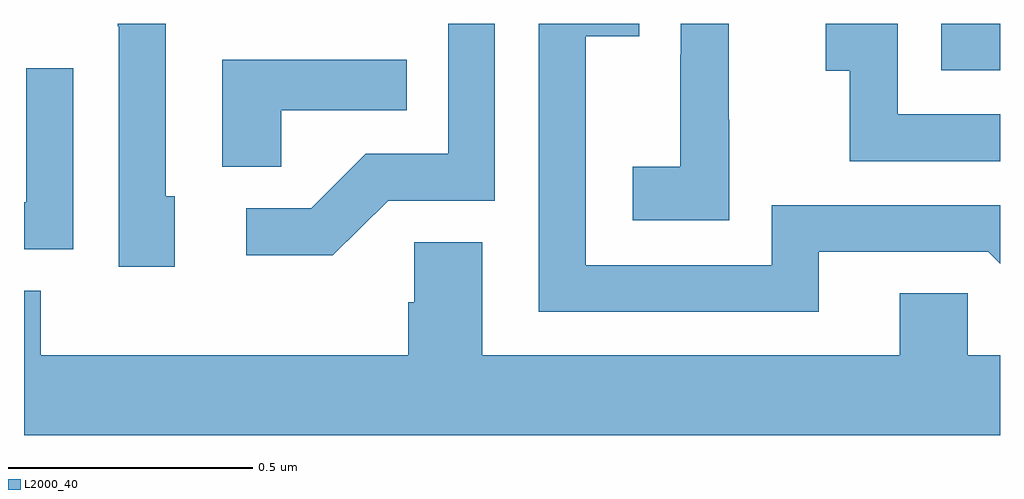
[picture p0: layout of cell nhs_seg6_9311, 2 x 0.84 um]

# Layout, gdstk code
import gdstk
lib = gdstk.Library(unit=1e-6, precision=1e-09)
def R(c, l, rs):  # rectangles x0, y0, x1, y1
    for r in rs: c.add(gdstk.rectangle(r[:2], r[2:], *l))
def P(c, l, *ps):  # polygons
    for p in ps: c.add(gdstk.Polygon(p, *l))
L2000_40 = (2000, 40)

nhs_seg6_9311 = lib.new_cell('nhs_seg6_9311')
R(nhs_seg6_9311, L2000_40, [(233.88,961.404,234,961.5)])
P(nhs_seg6_9311, L2000_40, [(232.309,961.146),(232.29,961.146),(232.29,961.5),(232.192,961.5),(232.192,961.495),(232.194,961.495),(232.194,961.002),(232.309,961.002)],
  [(233.629,961.032),(233.976,961.032),(234,961.008),(234,961.128),(233.532,961.128),(233.532,961.005),(233.151,961.005),(233.151,961.474),(233.261,961.474),(233.261,961.5),(233.055,961.5),(233.055,960.909),(233.629,960.909)],
  [(233.445,961.303),(233.444,961.303),(233.444,961.5),(233.346,961.5),(233.346,961.436),(233.345,961.436),(233.345,961.207),(233.247,961.207),(233.247,961.097),(233.445,961.097)],
  [(234,961.314),(233.79,961.314),(233.79,961.5),(233.643,961.5),(233.643,961.403),(233.692,961.403),(233.692,961.218),(234,961.218)],
  [(232.746,961.137),(232.965,961.137),(232.965,961.5),(232.869,961.5),(232.869,961.233),(232.7,961.233),(232.589,961.122),(232.455,961.122),(232.455,961.025),(232.633,961.025)],
  [(232.527,961.322),(232.784,961.322),(232.784,961.426),(232.406,961.426),(232.406,961.207),(232.527,961.207)],
  [(232.101,961.408),(232.005,961.408),(232.005,961.134),(232,961.134),(232,961.038),(232.101,961.038)],
  [(234,960.82),(233.934,960.82),(233.934,960.947),(233.795,960.947),(233.795,960.82),(232.939,960.82),(232.939,961.052),(232.8,961.052),(232.8,960.929),(232.787,960.929),(232.787,960.82),(232.034,960.82),(232.034,960.953),(232,960.953),(232,960.656),(234,960.656)])

lib.write_gds('nhs_seg6_9311.gds')
